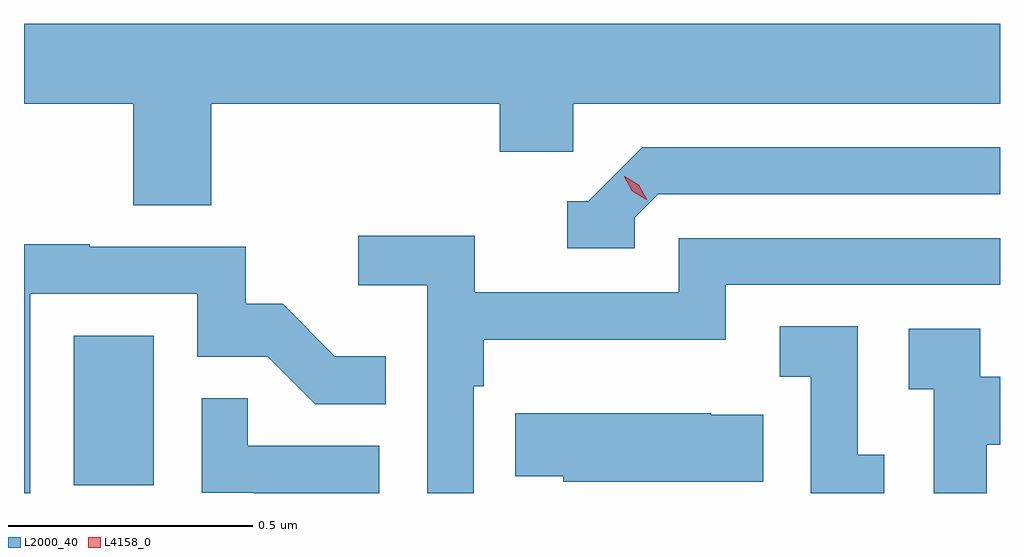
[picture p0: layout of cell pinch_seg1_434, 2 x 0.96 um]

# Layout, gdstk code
import gdstk
lib = gdstk.Library(unit=1e-6, precision=1e-09)
def R(c, l, rs):  # rectangles x0, y0, x1, y1
    for r in rs: c.add(gdstk.rectangle(r[:2], r[2:], *l))
def P(c, l, *ps):  # polygons
    for p in ps: c.add(gdstk.Polygon(p, *l))
L2000_40 = (2000, 40)
L4158_0 = (4158, 0)

pinch_seg1_434 = lib.new_cell('pinch_seg1_434')
R(pinch_seg1_434, L2000_40, [(920.786,534.966,920.95,535.273)])
P(pinch_seg1_434, L2000_40, [(920.684,535.748),(920.908,535.748),(920.908,535.54),(921.068,535.54),(921.068,535.748),(921.659,535.748),(921.659,535.65),(921.81,535.65),(921.81,535.748),(922.684,535.748),(922.684,535.912),(920.684,535.912)],
  [(921.936,535.515),(921.984,535.563),(922.684,535.563),(922.684,535.659),(921.951,535.659),(921.84,535.548),(921.797,535.548),(921.797,535.452),(921.936,535.452)],
  [(921.606,535.169),(921.626,535.169),(921.626,535.265),(922.122,535.265),(922.122,535.377),(922.684,535.377),(922.684,535.473),(922.026,535.473),(922.026,535.362),(921.608,535.362),(921.608,535.478),(921.369,535.478),(921.369,535.376),(921.51,535.376),(921.51,534.95),(921.606,534.95)],
  [(920.697,535.359),(921.039,535.359),(921.039,535.23),(921.183,535.23),(921.281,535.132),(921.425,535.132),(921.425,535.231),(921.321,535.231),(921.214,535.338),(921.138,535.338),(921.138,535.455),(920.819,535.455),(920.819,535.46),(920.684,535.46),(920.684,534.95),(920.697,534.95)],
  [(922.447,535.029),(922.392,535.029),(922.392,535.292),(922.233,535.292),(922.233,535.189),(922.296,535.189),(922.296,534.95),(922.447,534.95)],
  [(922.657,535.049),(922.684,535.049),(922.684,535.189),(922.644,535.189),(922.644,535.287),(922.497,535.287),(922.497,535.163),(922.548,535.163),(922.548,534.95),(922.657,534.95)],
  [(921.412,535.047),(921.143,535.047),(921.143,535.145),(921.048,535.145),(921.048,534.951),(921.155,534.951),(921.155,534.95),(921.412,534.95)],
  [(922.199,535.111),(922.091,535.111),(922.091,535.114),(921.691,535.114),(921.691,534.985),(921.789,534.985),(921.789,534.974),(922.199,534.974)])
P(pinch_seg1_434, L4158_0, [(921.961,535.55),(921.93,535.569),(921.913,535.601),(921.913,535.601),(921.913,535.601),(921.944,535.582),(921.961,535.55),(921.961,535.55)])

lib.write_gds('pinch_seg1_434.gds')
